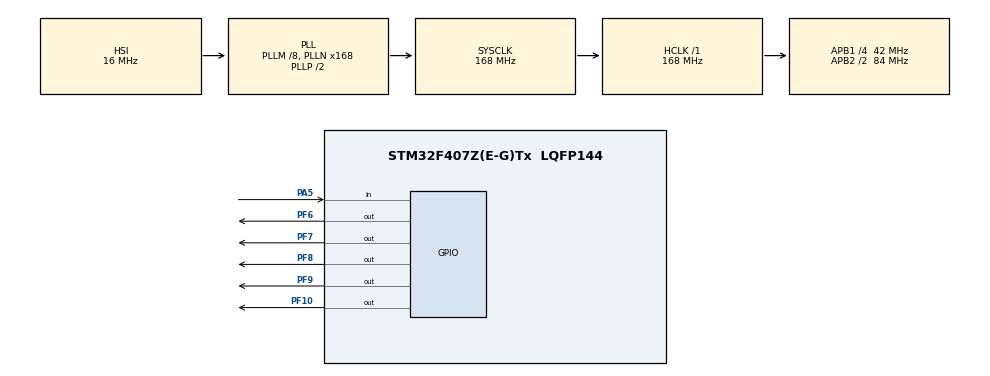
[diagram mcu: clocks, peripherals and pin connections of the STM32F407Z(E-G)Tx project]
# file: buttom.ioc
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Mcu.Family=STM32F4
Mcu.Name=STM32F407Z(E-G)Tx
Mcu.Package=LQFP144
NVIC.PriorityGroup=NVIC_PRIORITYGROUP_4
PA13.Mode=JTAG_4_pins
PA13.Signal=SYS_JTMS-SWDIO
PA14.Mode=JTAG_4_pins
PA14.Signal=SYS_JTCK-SWCLK
PA15.Mode=JTAG_4_pins
PA15.Signal=SYS_JTDI
PA5.Signal=GPIO_Input
PB3.Mode=JTAG_4_pins
PB3.Signal=SYS_JTDO-SWO
PC14-OSC32_IN.Mode=LSE-External-Oscillator
PC14-OSC32_IN.Signal=RCC_OSC32_IN
PC15-OSC32_OUT.Mode=LSE-External-Oscillator
PC15-OSC32_OUT.Signal=RCC_OSC32_OUT
PF10.PinState=GPIO_PIN_SET
PF10.Signal=GPIO_Output
PF6.GPIO_ModeDefaultOutputPP=GPIO_MODE_OUTPUT_OD
PF6.PinState=GPIO_PIN_SET
PF6.Signal=GPIO_Output
PF7.PinState=GPIO_PIN_SET
PF7.Signal=GPIO_Output
PF8.PinState=GPIO_PIN_SET
PF8.Signal=GPIO_Output
PF9.PinState=GPIO_PIN_SET
PF9.Signal=GPIO_Output
PH0-OSC_IN.Mode=HSE-External-Clock-Source
PH0-OSC_IN.Signal=RCC_OSC_IN
PH1-OSC_OUT.Mode=HSE-External-Clock-Source
PH1-OSC_OUT.Signal=RCC_OSC_OUT
ProjectManager.HeapSize=0x200
ProjectManager.StackSize=0x400
ProjectManager.TargetToolchain=MDK-ARM V5
RCC.48MHZClocksFreq_Value=84000000
RCC.AHBFreq_Value=168000000
RCC.APB1CLKDivider=RCC_HCLK_DIV4
RCC.APB1Freq_Value=42000000
RCC.APB1TimFreq_Value=84000000
RCC.APB2CLKDivider=RCC_HCLK_DIV2
RCC.APB2Freq_Value=84000000
RCC.APB2TimFreq_Value=168000000
RCC.CortexFreq_Value=168000000
RCC.HCLKFreq_Value=168000000
RCC.HSE_VALUE=25000000
RCC.HSI_VALUE=16000000
RCC.PLLM=8
RCC.PLLN=168
RCC.SYSCLKFreq_VALUE=168000000
RCC.SYSCLKSource=RCC_SYSCLKSOURCE_PLLCLK
RCC.VCOOutputFreq_Value=336000000
board=custom

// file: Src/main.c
/* USER CODE BEGIN Header */
/**
  ******************************************************************************
  * @file           : main.c
  * @brief          : Main program body
  ******************************************************************************
  * @attention
  *
  * <h2><center>&copy; Copyright (c) 2019 STMicroelectronics.
  * All rights reserved.</center></h2>
  *
  * This software component is licensed by ST under BSD 3-Clause license,
  * the "License"; You may not use this file except in compliance with the
  * License. You may obtain a copy of the License at:
  *                        opensource.org/licenses/BSD-3-Clause
  *
  ******************************************************************************
  */
/* USER CODE END Header */

#include "main.h"
#include "gpio.h"

void SystemClock_Config(void);

/* USER CODE BEGIN 0 */
uint8_t timer=0;
/* USER CODE END 0 */

int main(void)
{

  /* MCU Configuration--------------------------------------------------------*/

  /* Reset of all peripherals, Initializes the Flash interface and the Systick. */
  HAL_Init();

  /* Configure the system clock */
  SystemClock_Config();

  /* Initialize all configured peripherals */
  MX_GPIO_Init();
  /* USER CODE BEGIN 2 */
	//HAL_GPIO_WritePin(GPIOF,GPIO_PIN_6,0);
	GPIO_PinState m;
  /* USER CODE END 2 */

  /* Infinite loop */
  while (1)
  {

  }
}

void SystemClock_Config(void)
{
  RCC_OscInitTypeDef RCC_OscInitStruct = {0};
  RCC_ClkInitTypeDef RCC_ClkInitStruct = {0};

  /** Configure the main internal regulator output voltage
  */
  __HAL_RCC_PWR_CLK_ENABLE();
  __HAL_PWR_VOLTAGESCALING_CONFIG(PWR_REGULATOR_VOLTAGE_SCALE1);
  /** Initializes the CPU, AHB and APB busses clocks
  */
  RCC_OscInitStruct.OscillatorType = RCC_OSCILLATORTYPE_HSI;
  RCC_OscInitStruct.HSIState = RCC_HSI_ON;
  RCC_OscInitStruct.HSICalibrationValue = RCC_HSICALIBRATION_DEFAULT;
  RCC_OscInitStruct.PLL.PLLState = RCC_PLL_ON;
  RCC_OscInitStruct.PLL.PLLSource = RCC_PLLSOURCE_HSI;
  RCC_OscInitStruct.PLL.PLLM = 8;
  RCC_OscInitStruct.PLL.PLLN = 168;
  RCC_OscInitStruct.PLL.PLLP = RCC_PLLP_DIV2;
  RCC_OscInitStruct.PLL.PLLQ = 4;
  if (HAL_RCC_OscConfig(&RCC_OscInitStruct) != HAL_OK)
  {
    Error_Handler();
  }
  /** Initializes the CPU, AHB and APB busses clocks
  */
  RCC_ClkInitStruct.ClockType = RCC_CLOCKTYPE_HCLK|RCC_CLOCKTYPE_SYSCLK
                              |RCC_CLOCKTYPE_PCLK1|RCC_CLOCKTYPE_PCLK2;
  RCC_ClkInitStruct.SYSCLKSource = RCC_SYSCLKSOURCE_PLLCLK;
  RCC_ClkInitStruct.AHBCLKDivider = RCC_SYSCLK_DIV1;
  RCC_ClkInitStruct.APB1CLKDivider = RCC_HCLK_DIV4;
  RCC_ClkInitStruct.APB2CLKDivider = RCC_HCLK_DIV2;

  if (HAL_RCC_ClockConfig(&RCC_ClkInitStruct, FLASH_LATENCY_5) != HAL_OK)
  {
    Error_Handler();
  }
}

/* USER CODE BEGIN 4 */
void HAL_GPIO_EXTI_Callback(uint16_t GPIO_Pin)
{
	if(GPIO_Pin==GPIO_PIN_5)
	{
		HAL_GPIO_TogglePin(GPIOF,GPIO_PIN_6);
		timer++;
		if(timer>4)
		{
			timer=0;
		}
		//HAL_Delay(1);
		for(int i=0;i<=300;i++)
		{}

	}
}
void LightUpLED(uint8_t t)
{
	if(t==1)
	{
		HAL_GPIO_WritePin(GPIOF,GPIO_PIN_7,0);
		HAL_GPIO_WritePin(GPIOF,GPIO_PIN_8,1);
		HAL_GPIO_WritePin(GPIOF,GPIO_PIN_9,1);
		HAL_GPIO_WritePin(GPIOF,GPIO_PIN_10,1);
	}
	else if(t==2)
	{
		HAL_GPIO_WritePin(GPIOF,GPIO_PIN_7,1);
		HAL_GPIO_WritePin(GPIOF,GPIO_PIN_8,0);
		HAL_GPIO_WritePin(GPIOF,GPIO_PIN_9,1);
		HAL_GPIO_WritePin(GPIOF,GPIO_PIN_10,1);
	}
	else if(t==3)
	{
		HAL_GPIO_WritePin(GPIOF,GPIO_PIN_7,1);
		HAL_GPIO_WritePin(GPIOF,GPIO_PIN_8,1);
		HAL_GPIO_WritePin(GPIOF,GPIO_PIN_9,0);
		HAL_GPIO_WritePin(GPIOF,GPIO_PIN_10,1);
	}
	else if(t==4)
	{
		HAL_GPIO_WritePin(GPIOF,GPIO_PIN_7,1);
		HAL_GPIO_WritePin(GPIOF,GPIO_PIN_8,1);
		HAL_GPIO_WritePin(GPIOF,GPIO_PIN_9,1);
		HAL_GPIO_WritePin(GPIOF,GPIO_PIN_10,0);
	}
}
/* USER CODE END 4 */

void Error_Handler(void)
{
}

/************************ (C) COPYRIGHT STMicroelectronics *****END OF FILE****/
